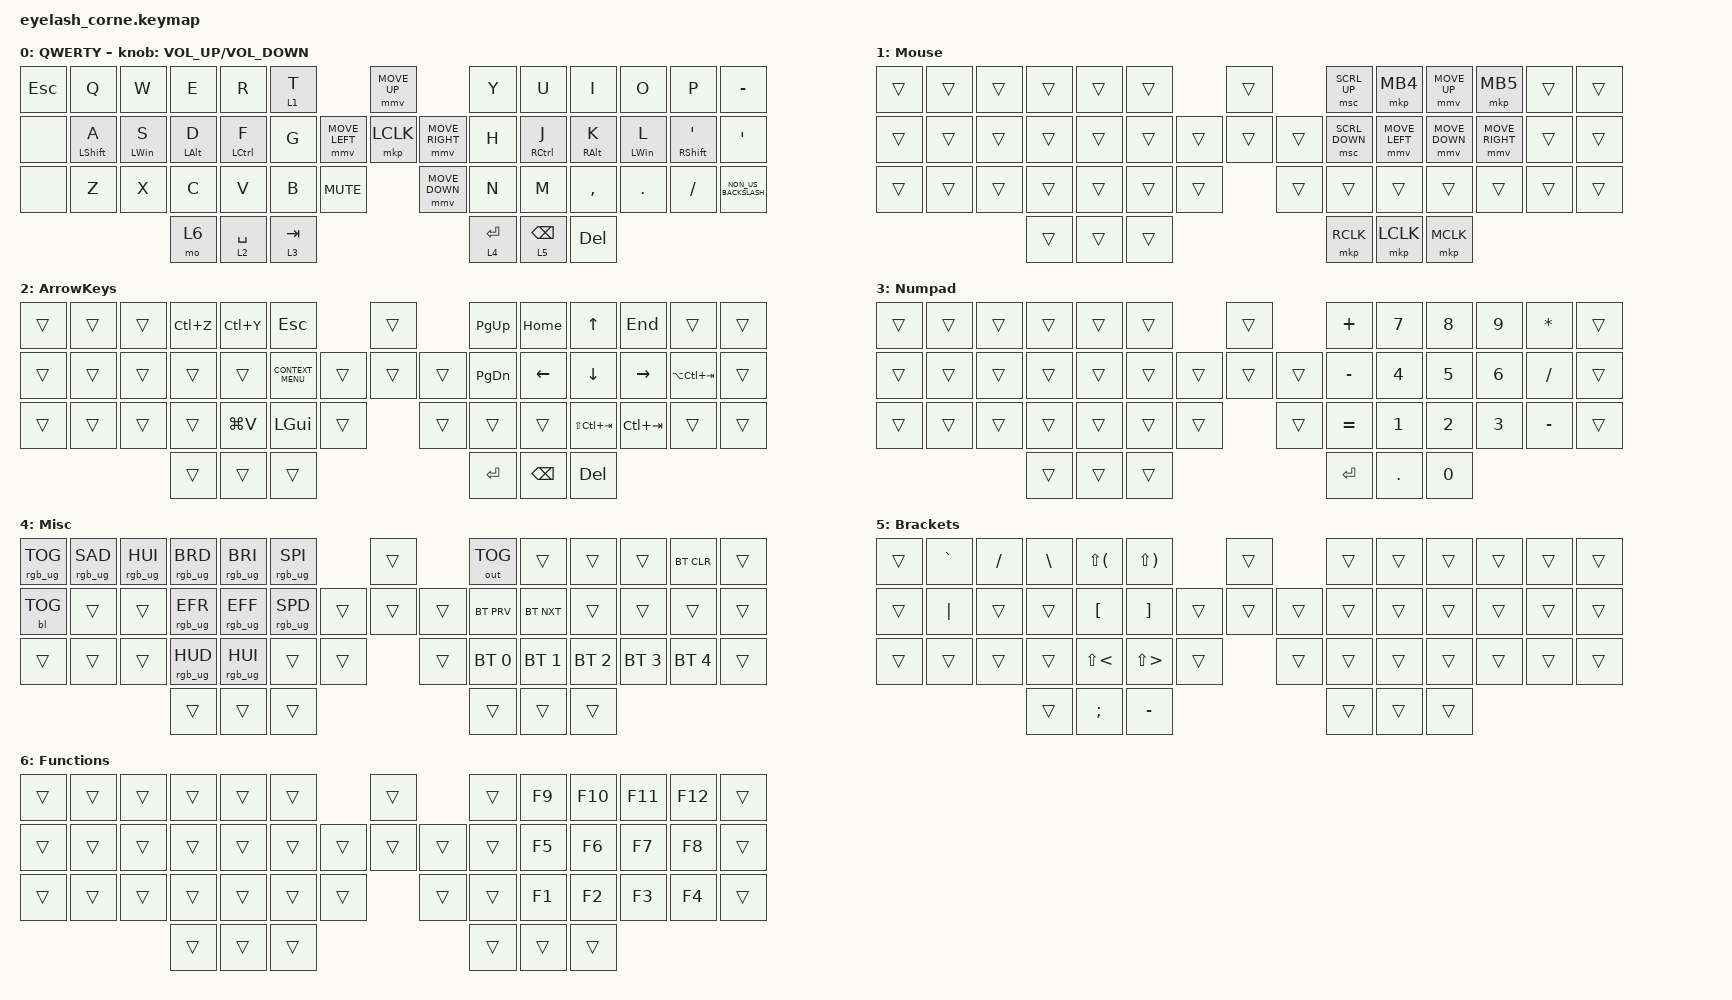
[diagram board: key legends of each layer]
#include <dt-bindings/zmk/mouse.h>
#include <input/processors.dtsi>
#include <behaviors.dtsi>
#include <dt-bindings/zmk/backlight.h>
#include <dt-bindings/zmk/bt.h>
#include <dt-bindings/zmk/keys.h>
#include <dt-bindings/zmk/outputs.h>
#include <dt-bindings/zmk/pointing.h>
#include <dt-bindings/zmk/rgb.h>

/*

   &mmv_input_listener {
       input-processors = <&zip_xy_scaler 2 1>;
   };

   &msc_input_listener {
       input-processors = <&zip_xy_scaler 2 1>;
   };

 */

#define ZMK_MOUSE_DEFAULT_MOVE_VAL 1200  // 600
#define ZMK_MOUSE_DEFAULT_SCRL_VAL 20    // 10

/ {
    behaviors {
        td0: td0 {
            compatible = "zmk,behavior-tap-dance";
            display-name = "Shift/Caps Lock Tap Dance";
            #binding-cells = <0>;
            bindings = <&kp LEFT_SHIFT>, <&kp CAPS>;
        };

        Tap_Hold_250: Tap_Hold_250 {
            compatible = "zmk,behavior-hold-tap";
            label = "TAP_HOLD_250";
            bindings = <&kp>, <&kp>;

            #binding-cells = <2>;
            tapping-term-ms = <250>;
            flavor = "tap-preferred";
        };

        Tap_Preferred: Tap_Preferred {
            compatible = "zmk,behavior-hold-tap";
            label = "TAP_PREFERRED";
            bindings = <&kp>, <&kp>;

            #binding-cells = <2>;
            flavor = "tap-preferred";
            tapping-term-ms = <200>;
        };
    };

    rgb_encoder: rgb_encoder {
        compatible = "zmk,behavior-sensor-rotate";
        #sensor-binding-cells = <0>;
        bindings = <&rgb_ug RGB_BRI>, <&rgb_ug RGB_BRD>;
    };

    scroll_encoder: scroll_encoder {
        compatible = "zmk,behavior-sensor-rotate";
        #sensor-binding-cells = <0>;
        bindings = <&msc SCRL_DOWN>, <&msc SCRL_UP>;

        tap-ms = <30>;
    };

    combos {
        compatible = "zmk,combos";

        Underscore {
            bindings = <&kp MINUS>;
            key-positions = <37 38>;
        };

        Colon {
            bindings = <&kp SEMICOLON>;
            key-positions = <38 39>;
        };
    };

    keymap {
        compatible = "zmk,keymap";

        default_layer {
            display-name = "QWERTY";
            bindings = <
&kp ESC  &kp Q                        &kp W                      &kp E                     &kp R                   &lt 1 T                                  &mmv MOVE_UP                     &kp Y        &kp U                           &kp I                      &kp O                      &kp P                           &kp MINUS
&none    &Tap_Preferred LEFT_SHIFT A  &Tap_Preferred LEFT_WIN S  &Tap_Hold_250 LEFT_ALT D  &Tap_Preferred LCTRL F  &kp G                    &mmv MOVE_LEFT  &mkp LCLK       &mmv MOVE_RIGHT  &kp H        &Tap_Preferred RIGHT_CONTROL J  &Tap_Hold_250 RIGHT_ALT K  &Tap_Preferred LEFT_WIN L  &Tap_Preferred RIGHT_SHIFT SQT  &kp SQT
&none    &kp Z                        &kp X                      &kp C                     &kp V                   &kp B      &kp C_MUTE                    &mmv MOVE_DOWN                   &kp N        &kp M                           &kp COMMA                  &kp DOT                    &kp FSLH                        &kp NON_US_BACKSLASH
                                                                 &mo 6                     &lt 2 SPACE             &lt 3 TAB                                                                 &lt 4 ENTER  &lt 5 BACKSPACE                 &kp DEL
            >;

            sensor-bindings = <&inc_dec_kp C_VOLUME_UP C_VOLUME_DOWN>;
        };

        Mouse {
            bindings = <
&trans  &trans  &trans  &trans  &trans  &trans                    &trans          &msc SCRL_UP    &mkp MB4        &mmv MOVE_UP    &mkp MB5         &trans  &trans
&trans  &trans  &trans  &trans  &trans  &trans            &trans  &trans  &trans  &msc SCRL_DOWN  &mmv MOVE_LEFT  &mmv MOVE_DOWN  &mmv MOVE_RIGHT  &trans  &trans
&trans  &trans  &trans  &trans  &trans  &trans  &trans            &trans          &trans          &trans          &trans          &trans           &trans  &trans
                        &trans  &trans  &trans                                    &mkp RCLK       &mkp LCLK       &mkp MCLK
            >;
        };

        ArrowKeys {
            bindings = <
&trans  &trans  &trans  &kp LC(Z)  &kp LC(Y)  &kp ESC                               &trans          &kp PG_UP  &kp HOME  &kp UP           &kp END      &trans           &trans
&trans  &trans  &trans  &trans     &trans     &kp K_CONTEXT_MENU            &trans  &trans  &trans  &kp PG_DN  &kp LEFT  &kp DOWN         &kp RIGHT    &kp LA(LC(TAB))  &trans
&trans  &trans  &trans  &trans     &kp LG(V)  &kp LGUI            &trans            &trans          &trans     &trans    &kp LS(LC(TAB))  &kp LC(TAB)  &trans           &trans
                        &trans     &trans     &trans                                                &kp RET    &kp BSPC  &kp DEL
            >;
        };

        Numpad {
            bindings = <
&trans  &trans  &trans  &trans  &trans  &trans                    &trans          &kp PLUS   &kp N7   &kp N8  &kp N9  &kp STAR   &trans
&trans  &trans  &trans  &trans  &trans  &trans            &trans  &trans  &trans  &kp MINUS  &kp N4   &kp N5  &kp N6  &kp FSLH   &trans
&trans  &trans  &trans  &trans  &trans  &trans  &trans            &trans          &kp EQUAL  &kp N1   &kp N2  &kp N3  &kp MINUS  &trans
                        &trans  &trans  &trans                                    &kp RET    &kp DOT  &kp N0
            >;
        };

        Misc {
            bindings = <
&rgb_ug RGB_TOG  &rgb_ug RGB_SAD  &rgb_ug RGB_HUI  &rgb_ug RGB_BRD  &rgb_ug RGB_BRI  &rgb_ug RGB_SPI                    &trans          &out OUT_TOG  &trans        &trans        &trans        &bt BT_CLR    &trans
&bl BL_TOG       &trans           &trans           &rgb_ug RGB_EFR  &rgb_ug RGB_EFF  &rgb_ug RGB_SPD            &trans  &trans  &trans  &bt BT_PRV    &bt BT_NXT    &trans        &trans        &trans        &trans
&trans           &trans           &trans           &rgb_ug RGB_HUD  &rgb_ug RGB_HUI  &trans           &trans            &trans          &bt BT_SEL 0  &bt BT_SEL 1  &bt BT_SEL 2  &bt BT_SEL 3  &bt BT_SEL 4  &trans
                                                   &trans           &trans           &trans                                             &trans        &trans        &trans
            >;
        };

        Brackets {
            bindings = <
&trans  &kp GRAVE  &kp FSLH  &kp BSLH  &kp LS(LPAR)  &kp LS(RPAR)                    &trans          &trans  &trans  &trans  &trans  &trans  &trans
&trans  &kp PIPE   &trans    &trans    &kp LBKT      &kp RBKT                &trans  &trans  &trans  &trans  &trans  &trans  &trans  &trans  &trans
&trans  &trans     &trans    &trans    &kp LS(LT)    &kp LS(GT)    &trans            &trans          &trans  &trans  &trans  &trans  &trans  &trans
                             &trans    &kp SEMI      &kp MINUS                                       &trans  &trans  &trans
            >;
        };

        Functions {
            bindings = <
&trans  &trans  &trans  &trans  &trans  &trans                    &trans          &trans  &kp F9  &kp F10  &kp F11  &kp F12  &trans
&trans  &trans  &trans  &trans  &trans  &trans            &trans  &trans  &trans  &trans  &kp F5  &kp F6   &kp F7   &kp F8   &trans
&trans  &trans  &trans  &trans  &trans  &trans  &trans            &trans          &trans  &kp F1  &kp F2   &kp F3   &kp F4   &trans
                        &trans  &trans  &trans                                    &trans  &trans  &trans
            >;
        };
    };
};
